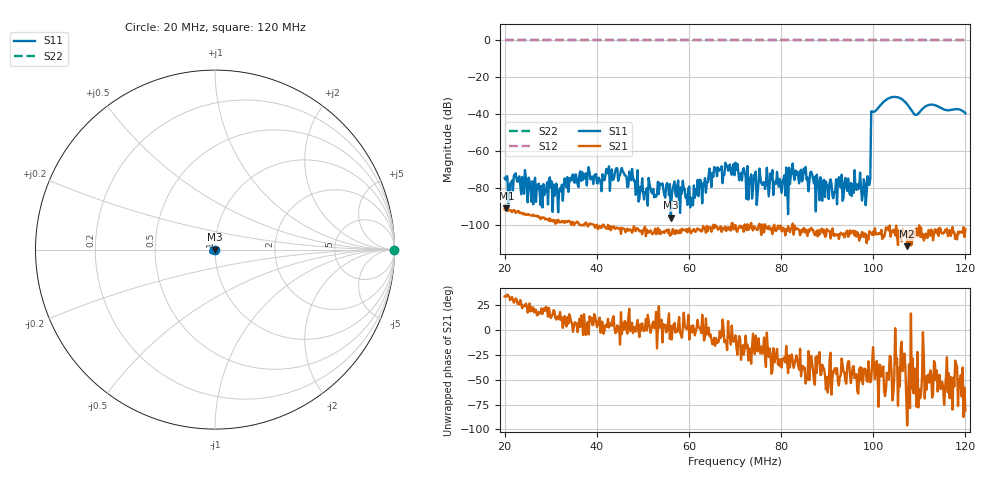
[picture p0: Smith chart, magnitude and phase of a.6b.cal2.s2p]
! Anritsu VNA Master:  Model: MS2036C/10/77
! SN:  1601066
! /bd0/18may07/256.ns.cal2.s2p
! Existing Calibration Information:
! TYPE:  Current Settings,  Active Cal Settings
! TIME:  05/07/2018 02:59:52 PM,  05/07/2018 02:58:54 PM
! INTERNAL TEMP:  58.8 C,  58.8 C
! # POINTS:  500,  500
! START FREQ:  20.000 MHz,  20.000 MHz
! STOP FREQ:  120.000 MHz,  120.000 MHz
! SOURCE POWER:  High,  High
! IFBW:  50 Hz,  50 Hz
! AVG FACTOR:  1 ,  1
! REF PLANE 1:  0 mm,  0 mm
! REF PLANE 2:  0 mm,  0 mm
! CAL TYPE:  Full S11,  Full S11
! CAL METHOD:  SOLT,  SOLT
! CAL LINE TYPE:  Coax,  Coax
! DUT PORT 1:  K-Conn(F),  K-Conn(F)
! DUT PORT 2:  K-Conn(F),  K-Conn(F)
! CAL STATUS:  OK: Accuracy High,  --
# GHZ S DB R 50.0
! FREQ.GHZ  S11DB  S11A  S21DB  S21A  S12DB  S12A  S22DB  S22A
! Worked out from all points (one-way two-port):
!   500 points, 20 MHz to 120 MHz, reference 50 ohm
!   highest |S21| = -91.07 dB at 20.4 MHz (marker M1); lowest = -111.5 dB at 107.4 MHz (marker M2)
!   lowest |S11| = -96.1 dB at 56.07 MHz (marker M3), VSWR 1.00, Z = 50 + j0.00156 ohm
!   |S11| at or under -10 dB: start of sweep to end of sweep
!   |S22| runs from 0.0 to 0.0 dB; largest |S21 - S12| = 1
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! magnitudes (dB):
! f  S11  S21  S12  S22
! 20 MHz  -74.6  -91.5  0.0  0.0
! 20.4 MHz  -73.6  -91.1  0.0  0.0
! 31.82 MHz  -81.9  -98.6  0.0  0.0
! 36.83 MHz  -71.4  -100.0  0.0  0.0
! 40.64 MHz  -75.7  -100.5  0.0  0.0
! 45.65 MHz  -71.2  -101.9  0.0  0.0
! 50.46 MHz  -82.3  -101.0  0.0  0.0
! 53.47 MHz  -83.3  -104.8  0.0  0.0
! 56.07 MHz  -96.1  -105.2  0.0  0.0
! 63.29 MHz  -78.9  -101.7  0.0  0.0
! 70.1 MHz  -66.2  -100.0  0.0  0.0
! 76.11 MHz  -77.1  -101.7  0.0  0.0
! 86.73 MHz  -72.6  -102.7  0.0  0.0
! 91.34 MHz  -85.6  -105.2  0.0  0.0
! 98.76 MHz  -73.5  -105.8  0.0  0.0
! 98.96 MHz  -77.6  -108.0  0.0  0.0
! 99.96 MHz  -38.7  -103.6  0.0  0.0
! 103.4 MHz  -31.4  -103.0  0.0  0.0
! 107.4 MHz  -34.6  -111.5  0.0  0.0
! 109.2 MHz  -40.3  -102.5  0.0  0.0
! 112.6 MHz  -34.8  -102.5  0.0  0.0
! 120 MHz  -39.5  -102.4  0.0  0.0
